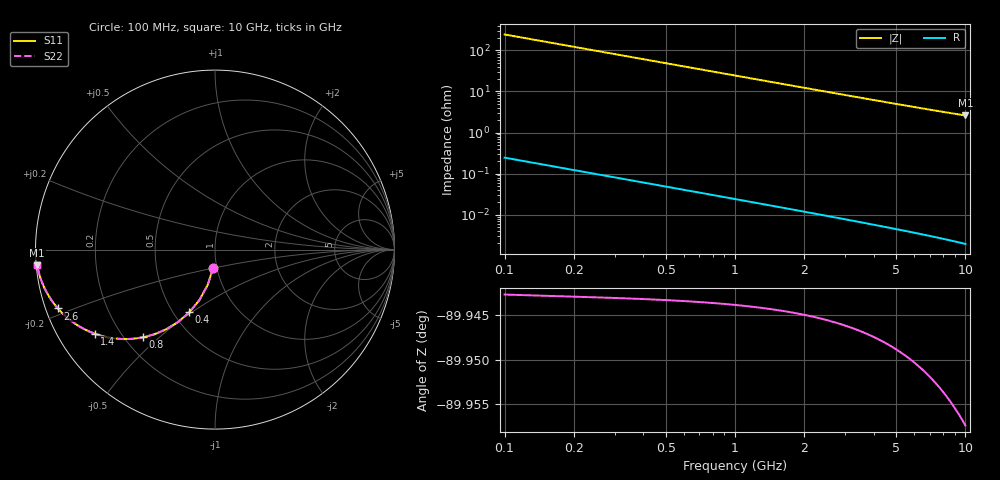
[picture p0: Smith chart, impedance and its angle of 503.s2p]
# Hz S RI R 50.00
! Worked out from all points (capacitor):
!   100 points, 100 MHz to 10 GHz, reference 50 ohm
!   read as one part in shunt: C = 6.5 pF near 100 MHz
!   lowest |Z| = 2.61 ohm at 10 GHz (marker M1)
!   S11 on the Smith chart (normalised r, x): 100 MHz: 0.96, -0.20; 400 MHz: 0.60, -0.49; 800 MHz: 0.27, -0.44; 1.4 GHz: 0.11, -0.31; 2.6 GHz: 0.03, -0.18; 10 GHz: 0.00, -0.04
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1e8  -0.0104 -0.101  0.9896 -0.1011  0.9896 -0.1011  -0.0104 -0.101
2e8  -0.0402 -0.1958  0.9598 -0.1961  0.9598 -0.1961  -0.0402 -0.1958
3e8  -0.086 -0.2797  0.914 -0.2801  0.914 -0.2801  -0.086 -0.2797
4e8  -0.1432 -0.3495  0.8568 -0.35  0.8568 -0.35  -0.1432 -0.3495
5e8  -0.2069 -0.4042  0.793 -0.405  0.793 -0.405  -0.2069 -0.4042
6e8  -0.273 -0.4446  0.727 -0.4454  0.727 -0.4454  -0.273 -0.4446
7e8  -0.3381 -0.4721  0.6618 -0.4731  0.6618 -0.4731  -0.3381 -0.4721
8e8  -0.4001 -0.4888  0.5998 -0.49  0.5998 -0.49  -0.4001 -0.4888
9e8  -0.4577 -0.4971  0.5423 -0.4984  0.5423 -0.4984  -0.4577 -0.4971
1.1e9  -0.5575 -0.4954  0.4425 -0.497  0.4425 -0.497  -0.5575 -0.4954
1.2e9  -0.5998 -0.4886  0.4001 -0.4903  0.4001 -0.4903  -0.5998 -0.4886
1.4e9  -0.6709 -0.4683  0.329 -0.4704  0.329 -0.4704  -0.6709 -0.4683
1.6e9  -0.7269 -0.4439  0.273 -0.4462  0.273 -0.4462  -0.7269 -0.4439
1.8e9  -0.771 -0.4183  0.2289 -0.421  0.2289 -0.421  -0.771 -0.4183
2.2e9  -0.834 -0.3699  0.1659 -0.3731  0.1659 -0.3731  -0.834 -0.3699
2.6e9  -0.8752 -0.328  0.1247 -0.3318  0.1247 -0.3318  -0.8752 -0.328
3.4e9  -0.923 -0.2636  0.077 -0.2686  0.077 -0.2686  -0.923 -0.2636
4.2e9  -0.9481 -0.2181  0.0518 -0.2243  0.0518 -0.2243  -0.9481 -0.2181
5.1e9  -0.9642 -0.1813  0.0357 -0.1889  0.0357 -0.1889  -0.9642 -0.1813
6.7e9  -0.979 -0.1377  0.0209 -0.1477  0.0209 -0.1477  -0.979 -0.1377
8.4e9  -0.9866 -0.1078  0.0133 -0.1205  0.0133 -0.1205  -0.9866 -0.1078
1e10  -0.9906 -0.0881  0.00926 -0.1033  0.00926 -0.1033  -0.9906 -0.0881
